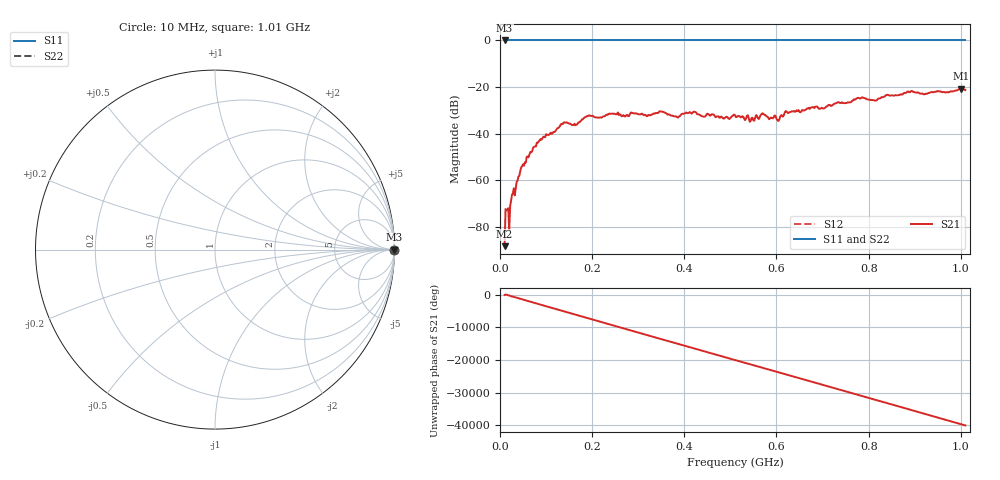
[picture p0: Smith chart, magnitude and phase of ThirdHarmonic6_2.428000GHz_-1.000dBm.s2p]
! 8/17/2025 4:11:21 AM
! C:\ANRITSUVNA\TEMP\TEMP.S2P
! CHANNEL.1
! TR.MEASUREMENT
! RAW.DATA
! RF.CORRECTION.OFF
! AVERAGING.OFF
! IF.BANDWIDTH: 5KHZ
! SWEEPTYPE:  FREQ.SWEEP(Linear)
! Reference Plane Port Info
! PORT:  PORT1  PORT2
! DISTANCE:  0  m  0  m
! TIME:  0  s  0  s
! PHASE.OFFSET:  0  deg.  0  deg.
! LOSS:  0  dB  0  dB
! REF.LOSS:  0  dB  0  dB
! REF.FREQ:  0  Hz  0  Hz
! Power Info
! POWER:  -20  dBm  -20  dBm
! EFF.POWER:  -20  dBm  -20  dBm
! SOURCE.ATTEN:  0  dB  0  dB
! TEST.ATTEN:  0  dB  0  dB
# GHZ S RI R 50.0
! FREQ.GHZ  S11RE  S11IM  S21RE  S21IM  S12RE  S12IM  S22RE  S22IM
!; PortSelection: Port_12
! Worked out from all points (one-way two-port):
!   501 points, 10 MHz to 1.01 GHz, reference 50 ohm
!   highest |S21| = -20.64 dB at 1 GHz (marker M1); lowest = -88.2 dB at 10 MHz (marker M2)
!   lowest |S11| = 0.0 dB at 10 MHz (marker M3)
!   |S11| at or under -10 dB: nowhere
!   |S22| runs from 0.0 to 0.0 dB; largest |S21 - S12| = 1.1
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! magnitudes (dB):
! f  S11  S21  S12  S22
! 10 MHz  0.0  -88.2  0.0  0.0
! 14 MHz  0.0  -72.8  0.0  0.0
! 20 MHz  0.0  -81.5  0.0  0.0
! 26 MHz  0.0  -66.1  0.0  0.0
! 46 MHz  0.0  -54.5  0.0  0.0
! 76 MHz  0.0  -45.4  0.0  0.0
! 136 MHz  0.0  -35.9  0.0  0.0
! 164 MHz  0.0  -36.3  0.0  0.0
! 178 MHz  0.0  -33.9  0.0  0.0
! 344 MHz  0.0  -30.9  0.0  0.0
! 384 MHz  0.0  -32.8  0.0  0.0
! 422 MHz  0.0  -30.5  0.0  0.0
! 440 MHz  0.0  -32.6  0.0  0.0
! 510 MHz  0.0  -32.1  0.0  0.0
! 546 MHz  0.0  -33.2  0.0  0.0
! 572 MHz  0.0  -31.6  0.0  0.0
! 604 MHz  0.0  -34.5  0.0  0.0
! 622 MHz  0.0  -30.5  0.0  0.0
! 678 MHz  0.0  -28.6  0.0  0.0
! 844 MHz  0.0  -23.5  0.0  0.0
! 1 GHz  0.0  -20.6  0.0  0.0
! 1.01 GHz  0.0  -21.3  0.0  0.0
